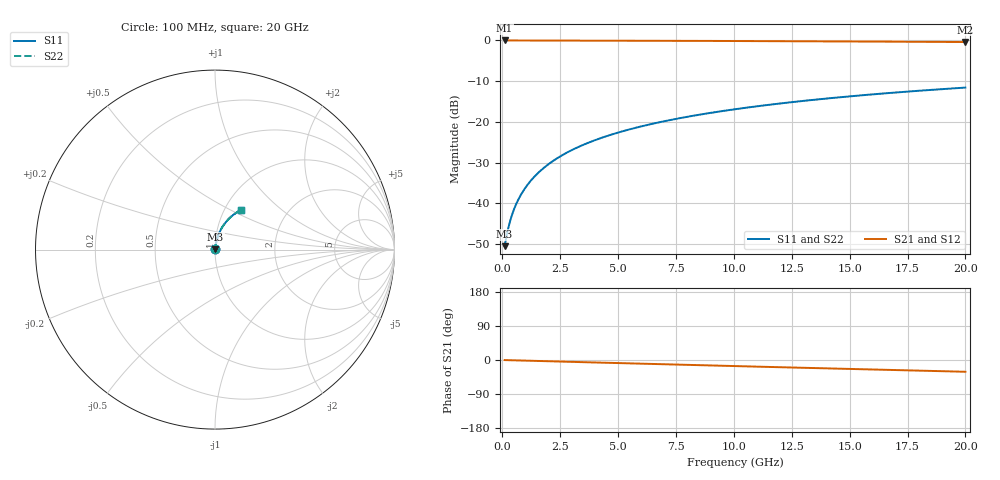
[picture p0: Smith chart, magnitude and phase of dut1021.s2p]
! Touchstone file exported from HFSS 2026.1.0
!  File:  C:/ffzhzh/LocalFiles/Ansys_Project_Files/temp_train_BSMRDL_1021_1783173431_43440.aedt
!  Generated:  09:58:22 PM Jul  4, 2026
!  Design:  BSMRDL
!  Project:  temp_train_BSMRDL_1021_1783173431_43440
! Variables:
!  h_bsmrdl = 4.1um
!  h_ox = 20um
!  h_rdl = 5um
!  h_sub = 80um
!  h_tmrdl = 5um
!  h_tsv = 80um
!  h_via = 3um
!  l_bsmrdl = 466.43um
!  l_sub = 866.43um
!  l_tmrdl = 200um
!  m_sub = 200um
!  pitch = 35.37um
!  r_tsv = 6um
!  s_tmrdl = 10um
!  w_bsmrdl = 17.32um
!  w_sub = 500um
!  w_tmrdl = 12um
!  x_tsv_center1 = 206um
!  x_tsv_center2 = 689.75um
!  x_tsv_center3 = 901.75um
!  x_tsv_center4 = 1385.5um
!  x_tsv_center5 = 1597.5um
!  x_tsv_center6 = 2081.25um
# GHz S MA R 50.000000
! Terminal data exported
! Port[1] = BSM_RDL1_1_T1
! Port[2] = BSM_RDL1_1_T2
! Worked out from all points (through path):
!   200 points, 100 MHz to 20 GHz, reference 50 ohm
!   highest |S21| = -0.02 dB at 100 MHz (marker M1); lowest = -0.4 dB at 20 GHz (marker M2)
!   group delay of S21, straight-line fit = 4.31 ps
!   lowest |S11| = -50.5 dB at 100 MHz (marker M3), VSWR 1.01, Z = 50.2 + j0.168 ohm
!   |S11| at or under -10 dB: start of sweep to end of sweep
!   |S22| runs from -50.5 to -11.6 dB; largest |S21 - S12| = 3e-15
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0.1  0.002989 34.0  0.9975 -0.2  0.9975 -0.2  0.002989 34.0
! Gamma 0 0 0 0
! Port Impedance 50 0 50 0
0.2  0.004191 51.6  0.9974 -0.3  0.9974 -0.3  0.004191 51.6
0.3  0.005563 60.4  0.9973 -0.5  0.9973 -0.5  0.005562 60.4
0.4  0.00697 65.6  0.9972 -0.7  0.9972 -0.7  0.006969 65.6
0.5  0.008389 69.0  0.9971 -0.8  0.9971 -0.8  0.008388 69.0
0.6  0.009817 71.4  0.997 -1.0  0.997 -1.0  0.009816 71.4
0.8  0.0127 74.7  0.9969 -1.3  0.9969 -1.3  0.0127 74.7
1.1  0.01707 77.5  0.9967 -1.8  0.9967 -1.8  0.01707 77.5
1.3  0.02001 78.5  0.9966 -2.1  0.9966 -2.1  0.02001 78.5
1.6  0.02444 79.5  0.9964 -2.6  0.9964 -2.6  0.02444 79.5
2.1  0.03183 80.2  0.996 -3.4  0.996 -3.4  0.03182 80.2
2.7  0.04067 80.2  0.9954 -4.4  0.9954 -4.4  0.04067 80.2
3.5  0.05237 79.7  0.9944 -5.7  0.9944 -5.7  0.05237 79.7
4.2  0.06251 78.9  0.9935 -6.8  0.9935 -6.8  0.06251 78.9
5  0.07396 77.9  0.9922 -8.1  0.9922 -8.1  0.07395 78.0
5.9  0.08666 76.7  0.9907 -9.6  0.9907 -9.6  0.08666 76.7
6.8  0.09919 75.5  0.989 -11.0  0.989 -11.0  0.09919 75.5
8.3  0.1197 73.4  0.9859 -13.3  0.9859 -13.3  0.1197 73.4
10.1  0.1437 70.8  0.9819 -16.1  0.9819 -16.1  0.1437 70.8
13.4  0.186 66.0  0.9737 -21.2  0.9737 -21.2  0.186 66.1
16.7  0.226 61.3  0.9643 -26.2  0.9643 -26.2  0.226 61.4
20  0.2634 56.7  0.9542 -31.0  0.9542 -31.0  0.2634 56.7
